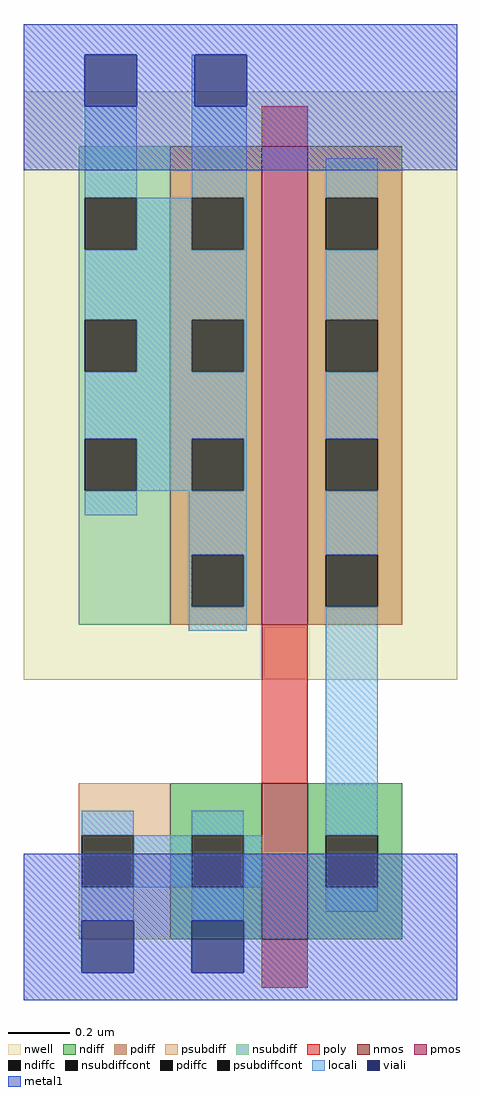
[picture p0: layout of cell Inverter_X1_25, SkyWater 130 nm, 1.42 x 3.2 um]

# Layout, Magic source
magic
tech sky130A
<< nwell >>
rect 145 104 287 297
<< nmos >>
rect 223 19 238 70
<< pmos >>
rect 223 122 238 279
<< ndiff >>
rect 193 53 223 70
rect 193 36 200 53
rect 217 36 223 53
rect 193 19 223 36
rect 238 53 269 70
rect 238 36 244 53
rect 261 36 269 53
rect 238 19 269 36
<< pdiff >>
rect 193 262 223 279
rect 193 245 200 262
rect 217 245 223 262
rect 193 222 223 245
rect 193 205 200 222
rect 217 205 223 222
rect 193 183 223 205
rect 193 166 200 183
rect 217 166 223 183
rect 193 145 223 166
rect 193 128 200 145
rect 217 128 223 145
rect 193 122 223 128
rect 238 262 269 279
rect 238 245 244 262
rect 261 245 269 262
rect 238 222 269 245
rect 238 205 244 222
rect 261 205 269 222
rect 238 183 269 205
rect 238 166 244 183
rect 261 166 269 183
rect 238 145 269 166
rect 238 128 244 145
rect 261 128 269 145
rect 238 122 269 128
<< ndiffc >>
rect 200 36 217 53
rect 244 36 261 53
<< pdiffc >>
rect 200 245 217 262
rect 200 205 217 222
rect 200 166 217 183
rect 200 128 217 145
rect 244 245 261 262
rect 244 205 261 222
rect 244 166 261 183
rect 244 128 261 145
<< psubdiff >>
rect 163 53 193 70
rect 163 36 164 53
rect 181 36 193 53
rect 163 19 193 36
<< nsubdiff >>
rect 163 262 193 279
rect 163 245 165 262
rect 182 245 193 262
rect 163 222 193 245
rect 163 205 165 222
rect 182 205 193 222
rect 163 183 193 205
rect 163 166 165 183
rect 182 166 193 183
rect 163 122 193 166
<< psubdiffcont >>
rect 164 36 181 53
<< nsubdiffcont >>
rect 165 245 182 262
rect 165 205 182 222
rect 165 166 182 183
<< poly >>
rect 223 279 238 292
rect 223 70 238 122
rect 223 3 238 19
<< locali >>
rect 165 262 182 292
rect 200 292 201 309
rect 200 262 218 292
rect 182 245 200 262
rect 217 245 218 262
rect 165 222 218 245
rect 182 205 200 222
rect 217 205 218 222
rect 165 183 218 205
rect 182 166 200 183
rect 217 166 218 183
rect 165 158 182 166
rect 199 145 218 166
rect 199 128 200 145
rect 217 128 218 145
rect 199 120 218 128
rect 244 262 261 275
rect 244 222 261 245
rect 244 183 261 205
rect 244 145 261 166
rect 164 53 181 61
rect 200 53 217 61
rect 244 53 261 128
rect 181 36 200 53
rect 217 36 223 53
rect 164 25 181 36
rect 200 25 217 36
rect 244 28 261 36
<< viali >>
rect 165 292 182 309
rect 201 292 218 309
rect 164 8 181 25
rect 200 8 217 25
<< metal1 >>
rect 145 309 287 319
rect 145 292 165 309
rect 182 292 201 309
rect 218 292 287 309
rect 145 271 287 292
rect 145 25 287 47
rect 145 8 164 25
rect 181 8 200 25
rect 217 8 287 25
rect 145 -1 287 8
<< end >>
